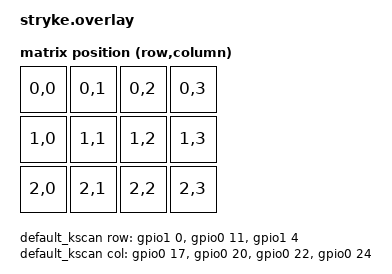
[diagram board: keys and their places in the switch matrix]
#include <dt-bindings/zmk/matrix_transform.h>
#include <physical_layouts.dtsi>

/ {  
    default_kscan: kscan {
        compatible = "zmk,kscan-gpio-matrix";
        diode-direction = "col2row"; 
        poll-period-ms = <10>;

        row-gpios = <&gpio1 0 (GPIO_ACTIVE_HIGH | GPIO_PULL_DOWN)>, 
                    <&gpio0 11 (GPIO_ACTIVE_HIGH | GPIO_PULL_DOWN)>, 
                    <&gpio1 4 (GPIO_ACTIVE_HIGH | GPIO_PULL_DOWN)>;

        col-gpios = <&gpio0 17 GPIO_ACTIVE_HIGH>, 
                    <&gpio0 20 GPIO_ACTIVE_HIGH>, 
                    <&gpio0 22 GPIO_ACTIVE_HIGH>, 
                    <&gpio0 24 GPIO_ACTIVE_HIGH>;
    };
    
    default_transform: matrix_transform {
        compatible = "zmk,matrix-transform";
        rows = <3>;
        columns = <4>;
        map = <
            RC(0,0) RC(0,1) RC(0,2) RC(0,3)
            RC(1,0) RC(1,1) RC(1,2) RC(1,3)
            RC(2,0) RC(2,1) RC(2,2) RC(2,3)
        >;
    };

    physical_layout0: physical_layout_0 {
        compatible = "zmk,physical-layout";
        display-name = "NexusPro";
        transform = <&default_transform>;
        kscan = <&default_kscan>;
        keys 
            = <&key_physical_attrs 100 100     0    0       0     0     0>
            , <&key_physical_attrs 100 100   100    0       0     0     0>
            , <&key_physical_attrs 100 100   200    0       0     0     0>
            , <&key_physical_attrs 100 100   300    0       0     0     0>
            , <&key_physical_attrs 100 100     0   100      0     0     0>
            , <&key_physical_attrs 100 100   100   100      0     0     0>
            , <&key_physical_attrs 100 100   200   100      0     0     0>
            , <&key_physical_attrs 100 100   300   100      0     0     0>
            , <&key_physical_attrs 100 100     0   200      0     0     0>
            , <&key_physical_attrs 100 100   100   200      0     0     0>
            , <&key_physical_attrs 100 100   200   200      0     0     0>
            , <&key_physical_attrs 100 100   300   200      0     0     0>
            ;
    };
};

&pinctrl {
    i2c0_default: i2c0_default {
        group1 {
            psels = <NRF_PSEL(TWIM_SDA, 0, 31)>,
                    <NRF_PSEL(TWIM_SCL, 0, 29)>;
            bias-pull-up;
        };
    };

    i2c0_sleep: i2c0_sleep {
        group1 {
            psels = <NRF_PSEL(TWIM_SDA, 0, 31)>,
                    <NRF_PSEL(TWIM_SCL, 0, 29)>;
            low-power-enable;
        };
    };
};

&i2c0 {
    status = "okay";
    pinctrl-0 = <&i2c0_default>;
    pinctrl-1 = <&i2c0_sleep>;
    pinctrl-names = "default", "sleep";

    oled: ssd1306@3c {
        compatible = "solomon,ssd1306fb";
        reg = <0x3c>;
        width = <128>;
        height = <64>;
        segment-offset = <0>;
        page-offset = <0>;
        display-offset = <0>;
        multiplex-ratio = <63>;
        segment-remap;
        com-invdir;
        com-sequential;
        inversion-on;
        prechargep = <0x22>;
    };
};

/ {
    chosen {
        zephyr,display = &oled;
        zmk,display=&oled;
    };
};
